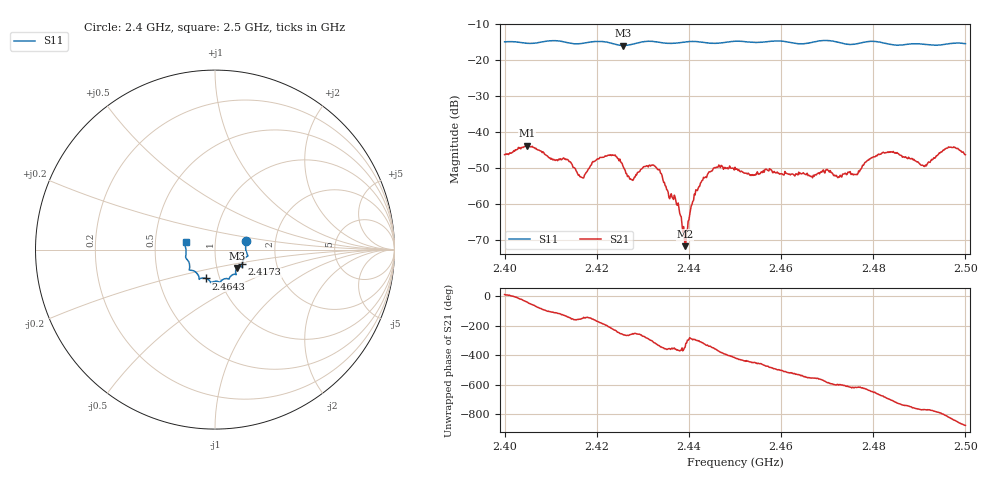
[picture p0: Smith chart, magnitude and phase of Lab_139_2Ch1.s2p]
# Hz S RI R 50
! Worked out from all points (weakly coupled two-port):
!   601 points, 2.4 GHz to 2.5 GHz, reference 50 ohm
!   highest |S21| = -43.78 dB at 2.4048 GHz (marker M1); lowest = -71.8 dB at 2.4392 GHz (marker M2)
!   lowest |S11| = -15.9 dB at 2.4257 GHz (marker M3), VSWR 1.38, Z = 62.5 - j13.1 ohm
!   |S11| at or under -10 dB: start of sweep to end of sweep
!   S12 and S22 are empty: the file has one direction only
!   S11 on the Smith chart (normalised r, x): 2.4 GHz: 1.41, +0.14; 2.4173 GHz: 1.34, -0.23; 2.4643 GHz: 0.86, -0.29; 2.5 GHz: 0.72, +0.06
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2.4e9  0.1729 0.0485  0.00473 0.00104  0 0  0 0
2.404833e9  0.1708 0.0162  0.00506 -0.00403  0 0  0 0
2.413333e9  0.1715 -0.0428  -0.00287 -0.00295  0 0  0 0
2.416667e9  0.153 -0.0744  -0.00207 -0.00111  0 0  0 0
2.417333e9  0.1521 -0.0819  -0.00208 -0.0014  0 0  0 0
2.422333e9  0.1497 -0.095  -0.00438 0.00177  0 0  0 0
2.425667e9  0.1229 -0.1019  -0.000609 0.00332  0 0  0 0
2.4275e9  0.1152 -0.1184  -0.00046 0.00213  0 0  0 0
2.433333e9  0.1128 -0.1376  0.00266 0.00132  0 0  0 0
2.437333e9  0.085 -0.1504  0.00097 -8.62e-05  0 0  0 0
2.439167e9  0.0797 -0.1599  0.000251 6.04e-05  0 0  0 0
2.441e9  0.0774 -0.1646  0.000413 0.00103  0 0  0 0
2.443e9  0.07 -0.1625  0.00152 0.00151  0 0  0 0
2.446e9  0.0475 -0.1647  0.00324 -0.000184  0 0  0 0
2.45e9  0.0285 -0.1809  0.00167 -0.00276  0 0  0 0
2.464333e9  -0.0502 -0.161  -0.00263 1.54e-05  0 0  0 0
2.466667e9  -0.076 -0.1591  -0.00232 0.000624  0 0  0 0
2.476167e9  -0.118 -0.1187  -0.00051 0.00251  0 0  0 0
2.483333e9  -0.141 -0.0901  0.00482 0.00193  0 0  0 0
2.491e9  -0.1628 -0.0341  0.00216 -0.00253  0 0  0 0
2.496333e9  -0.1674 0.0223  -0.00127 -0.00607  0 0  0 0
2.5e9  -0.1639 0.0427  -0.00448 -0.0018  0 0  0 0
